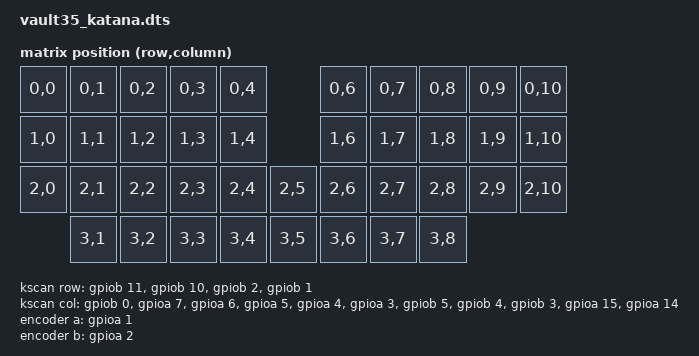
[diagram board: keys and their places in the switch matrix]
/*
 * Copyright (c) 2020 The ZMK Contributors
 *
 * SPDX-License-Identifier: MIT
 */

/dts-v1/;
#include <st/f0/stm32f072Xb.dtsi>
#include <st/f0/stm32f072v(8-b)tx-pinctrl.dtsi>

#include <dt-bindings/zmk/matrix_transform.h>

/ {
    chosen {
        zephyr,sram = &sram0;
        zephyr,flash = &flash0;
        zephyr,console = &cdc_acm_uart;
        zmk,kscan = &kscan;
        zmk,matrix_transform = &transform_1us;
    };

    xtal_clk: xtal-clk {
		compatible = "fixed-clock";
		clock-frequency = <12000000>;
		#clock-cells = <0>;
	};

    // all 1u bottom 
    transform_1us: transform_1us {
        compatible = "zmk,matrix-transform";
        rows = <4>;
        columns = <11>;
        map = <
        RC(0,0) RC(0,1) RC(0,2) RC(0,3) RC(0,4)         RC(0,6) RC(0,7) RC(0,8) RC(0,9) RC(0,10)
        RC(1,0) RC(1,1) RC(1,2) RC(1,3) RC(1,4)         RC(1,6) RC(1,7) RC(1,8) RC(1,9) RC(1,10)
        RC(2,0) RC(2,1) RC(2,2) RC(2,3) RC(2,4) RC(2,5) RC(2,6) RC(2,7) RC(2,8) RC(2,9) RC(2,10)
                RC(3,1) RC(3,2) RC(3,3) RC(3,4) RC(3,5) RC(3,6) RC(3,7) RC(3,8) 
        >;
    };

    kscan: kscan {
        compatible = "zmk,kscan-gpio-matrix";
        diode-direction = "row2col";

        col-gpios
        = <&gpiob 0  (GPIO_ACTIVE_HIGH)>
        , <&gpioa 7  (GPIO_ACTIVE_HIGH)>
        , <&gpioa 6  (GPIO_ACTIVE_HIGH)>
        , <&gpioa 5  (GPIO_ACTIVE_HIGH)>
        , <&gpioa 4  (GPIO_ACTIVE_HIGH)>
        , <&gpioa 3  (GPIO_ACTIVE_HIGH)>
        , <&gpiob 5  (GPIO_ACTIVE_HIGH)>
        , <&gpiob 4  (GPIO_ACTIVE_HIGH)>
        , <&gpiob 3  (GPIO_ACTIVE_HIGH)>
        , <&gpioa 15 (GPIO_ACTIVE_HIGH)>
        , <&gpioa 14 (GPIO_ACTIVE_HIGH)>
        ;
        row-gpios
        = <&gpiob 11  (GPIO_ACTIVE_HIGH | GPIO_PULL_DOWN)>
        , <&gpiob 10  (GPIO_ACTIVE_HIGH | GPIO_PULL_DOWN)>
        , <&gpiob 2   (GPIO_ACTIVE_HIGH | GPIO_PULL_DOWN)>
        , <&gpiob 1   (GPIO_ACTIVE_HIGH | GPIO_PULL_DOWN)>
        ;
    };

    encoder: encoder {
        compatible = "alps,ec11";
        a-gpios = <&gpioa 1 (GPIO_ACTIVE_HIGH | GPIO_PULL_UP)>;
        b-gpios = <&gpioa 2 (GPIO_ACTIVE_HIGH | GPIO_PULL_UP)>;
        steps = <80>;
        status = "disabled";
    };

    sensors: sensors {
        compatible = "zmk,keymap-sensors";
        sensors = <&encoder>;
        triggers-per-rotation = <20>;
    };
};

&usb {
    status = "okay";

    pinctrl-0 = <&usb_dm_pa11 &usb_dp_pa12>;
    pinctrl-names = "default";

    cdc_acm_uart: cdc_acm_uart {
        compatible = "zephyr,cdc-acm-uart";
        label = "CDC_ACM_0";
    };
};

&clk_hsi {
    status = "okay";
};

&clk_hsi48 {
    status = "okay";
};

&pll {
    prediv = <1>;
    mul = <6>;
    clocks = <&clk_hsi>;
    status = "okay";
};

&rcc {
    clocks = <&pll>;
    clock-frequency = <DT_FREQ_M(48)>;
    ahb-prescaler = <1>;
    apb1-prescaler = <1>;
};


&rtc {
    status = "okay";
};

&flash0 {
    /*
     * For more information, see:
     * http: //docs.zephyrproject.org/latest/guides/dts/index.html#flash-partitions
     */
    partitions {
        compatible = "fixed-partitions";
        #address-cells = <1>;
        #size-cells = <1>;

        /* Set 6Kb of storage at the end of the 128Kb of flash */
        storage_partition: partition@3e800 {
            label = "storage";
            reg = <0x0001e800 0x00001800>;
        };
    };
};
